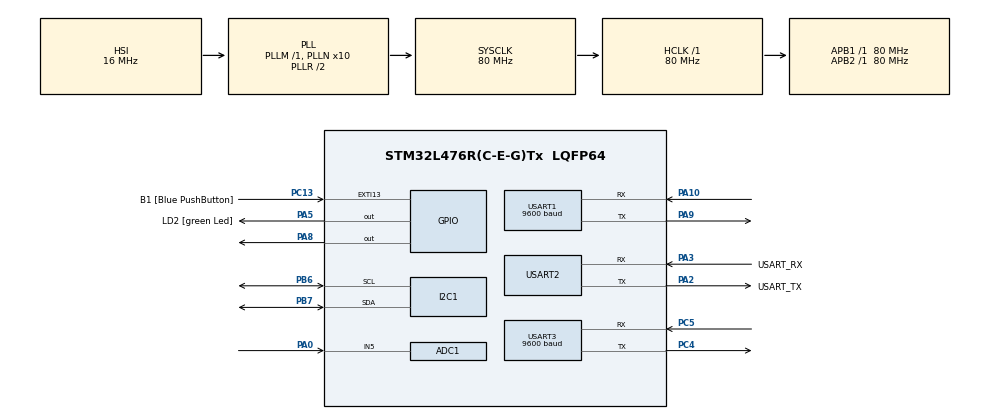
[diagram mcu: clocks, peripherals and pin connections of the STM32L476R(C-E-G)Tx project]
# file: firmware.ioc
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ADC1.Channel-0\#ChannelRegularConversion=ADC_CHANNEL_5
ADC1.NbrOfConversionFlag=1
ADC1.OffsetNumber-0\#ChannelRegularConversion=ADC_OFFSET_NONE
ADC1.Rank-0\#ChannelRegularConversion=1
ADC1.SamplingTime-0\#ChannelRegularConversion=ADC_SAMPLETIME_2CYCLES_5
ADC1.master=1
Dma.Request0=USART1_RX
Dma.Request1=USART1_TX
Dma.Request2=USART3_RX
Dma.Request3=USART3_TX
Dma.USART1_RX.0.Direction=DMA_PERIPH_TO_MEMORY
Dma.USART1_RX.0.Instance=DMA1_Channel5
Dma.USART1_RX.0.MemDataAlignment=DMA_MDATAALIGN_BYTE
Dma.USART1_RX.0.MemInc=DMA_MINC_ENABLE
Dma.USART1_RX.0.Mode=DMA_NORMAL
Dma.USART1_RX.0.PeriphDataAlignment=DMA_PDATAALIGN_BYTE
Dma.USART1_RX.0.PeriphInc=DMA_PINC_DISABLE
Dma.USART1_RX.0.Priority=DMA_PRIORITY_LOW
Dma.USART1_TX.1.Direction=DMA_MEMORY_TO_PERIPH
Dma.USART1_TX.1.Instance=DMA1_Channel4
Dma.USART1_TX.1.MemDataAlignment=DMA_MDATAALIGN_BYTE
Dma.USART1_TX.1.MemInc=DMA_MINC_ENABLE
Dma.USART1_TX.1.Mode=DMA_NORMAL
Dma.USART1_TX.1.PeriphDataAlignment=DMA_PDATAALIGN_BYTE
Dma.USART1_TX.1.PeriphInc=DMA_PINC_DISABLE
Dma.USART1_TX.1.Priority=DMA_PRIORITY_LOW
Dma.USART3_RX.2.Direction=DMA_PERIPH_TO_MEMORY
Dma.USART3_RX.2.Instance=DMA1_Channel3
Dma.USART3_RX.2.MemDataAlignment=DMA_MDATAALIGN_BYTE
Dma.USART3_RX.2.MemInc=DMA_MINC_ENABLE
Dma.USART3_RX.2.Mode=DMA_NORMAL
Dma.USART3_RX.2.PeriphDataAlignment=DMA_PDATAALIGN_BYTE
Dma.USART3_RX.2.PeriphInc=DMA_PINC_DISABLE
Dma.USART3_RX.2.Priority=DMA_PRIORITY_LOW
Dma.USART3_TX.3.Direction=DMA_MEMORY_TO_PERIPH
Dma.USART3_TX.3.Instance=DMA1_Channel2
Dma.USART3_TX.3.MemDataAlignment=DMA_MDATAALIGN_BYTE
Dma.USART3_TX.3.MemInc=DMA_MINC_ENABLE
Dma.USART3_TX.3.Mode=DMA_NORMAL
Dma.USART3_TX.3.PeriphDataAlignment=DMA_PDATAALIGN_BYTE
Dma.USART3_TX.3.PeriphInc=DMA_PINC_DISABLE
Dma.USART3_TX.3.Priority=DMA_PRIORITY_LOW
I2C1.Timing=0x10D19CE4
Mcu.Family=STM32L4
Mcu.Name=STM32L476R(C-E-G)Tx
Mcu.Package=LQFP64
NVIC.DMA1_Channel2_IRQn=true\:0\:0\:false\:false\:true\:false\:true\:true
NVIC.DMA1_Channel3_IRQn=true\:0\:0\:false\:false\:true\:false\:true\:true
NVIC.DMA1_Channel4_IRQn=true\:0\:0\:false\:false\:true\:false\:true\:true
NVIC.DMA1_Channel5_IRQn=true\:0\:0\:false\:false\:true\:false\:true\:true
NVIC.PriorityGroup=NVIC_PRIORITYGROUP_4
NVIC.RTC_Alarm_IRQn=true\:0\:0\:false\:false\:true\:true\:true\:true
NVIC.TIM2_IRQn=true\:0\:0\:false\:false\:true\:true\:true\:true
NVIC.TIM4_IRQn=true\:0\:0\:false\:false\:true\:true\:true\:true
NVIC.TIM5_IRQn=true\:0\:0\:false\:false\:true\:true\:true\:true
NVIC.USART1_IRQn=true\:0\:0\:false\:false\:true\:true\:true\:true
NVIC.USART3_IRQn=true\:0\:0\:false\:false\:true\:true\:true\:true
PA0.Signal=ADCx_IN5
PA10.Mode=Asynchronous
PA10.Signal=USART1_RX
PA13\ (JTMS-SWDIO).GPIO_Label=TMS
PA13\ (JTMS-SWDIO).Mode=Serial_Wire
PA13\ (JTMS-SWDIO).Signal=SYS_JTMS-SWDIO
PA14\ (JTCK-SWCLK).GPIO_Label=TCK
PA14\ (JTCK-SWCLK).Mode=Serial_Wire
PA14\ (JTCK-SWCLK).Signal=SYS_JTCK-SWCLK
PA2.GPIO_Label=USART_TX
PA2.GPIO_Mode=GPIO_MODE_AF_PP
PA2.GPIO_PuPd=GPIO_NOPULL
PA2.GPIO_Speed=GPIO_SPEED_FREQ_VERY_HIGH
PA2.Mode=Asynchronous
PA2.Signal=USART2_TX
PA3.GPIO_Label=USART_RX
PA3.GPIO_Mode=GPIO_MODE_AF_PP
PA3.GPIO_PuPd=GPIO_NOPULL
PA3.GPIO_Speed=GPIO_SPEED_FREQ_VERY_HIGH
PA3.Mode=Asynchronous
PA3.Signal=USART2_RX
PA5.GPIO_Label=LD2 [green Led]
PA5.GPIO_ModeDefaultOutputPP=GPIO_MODE_OUTPUT_PP
PA5.GPIO_PuPd=GPIO_NOPULL
PA5.GPIO_Speed=GPIO_SPEED_FREQ_LOW
PA5.Signal=GPIO_Output
PA8.Signal=GPIO_Output
PA9.Mode=Asynchronous
PA9.Signal=USART1_TX
PB3\ (JTDO-TRACESWO).GPIO_Label=SWO
PB3\ (JTDO-TRACESWO).Signal=SYS_JTDO-SWO
PB6.Mode=I2C
PB6.Signal=I2C1_SCL
PB7.Mode=I2C
PB7.Signal=I2C1_SDA
PC13.GPIO_Label=B1 [Blue PushButton]
PC13.GPIO_ModeDefaultEXTI=GPIO_MODE_IT_FALLING
PC13.GPIO_PuPd=GPIO_NOPULL
PC13.Signal=GPXTI13
PC14-OSC32_IN\ (PC14).Mode=LSE-External-Oscillator
PC14-OSC32_IN\ (PC14).Signal=RCC_OSC32_IN
PC15-OSC32_OUT\ (PC15).Mode=LSE-External-Oscillator
PC15-OSC32_OUT\ (PC15).Signal=RCC_OSC32_OUT
PC4.Mode=Asynchronous
PC4.Signal=USART3_TX
PC5.Mode=Asynchronous
PC5.Signal=USART3_RX
PH0-OSC_IN\ (PH0).Signal=RCC_OSC_IN
PH1-OSC_OUT\ (PH1).Signal=RCC_OSC_OUT
ProjectManager.HeapSize=0x200
ProjectManager.StackSize=0x400
ProjectManager.TargetToolchain=STM32CubeIDE
RCC.ADCFreq_Value=64000000
RCC.AHBFreq_Value=80000000
RCC.APB1Freq_Value=80000000
RCC.APB1TimFreq_Value=80000000
RCC.APB2Freq_Value=80000000
RCC.APB2TimFreq_Value=80000000
RCC.CortexFreq_Value=80000000
RCC.HCLKFreq_Value=80000000
RCC.HSE_VALUE=8000000
RCC.HSI_VALUE=16000000
RCC.MSI_VALUE=4000000
RCC.PLLN=10
RCC.PLLSourceVirtual=RCC_PLLSOURCE_HSI
RCC.PREFETCH_ENABLE=1
RCC.RTCClockSelection=RCC_RTCCLKSOURCE_LSE
RCC.SYSCLKFreq_VALUE=80000000
RCC.SYSCLKSource=RCC_SYSCLKSOURCE_PLLCLK
RCC.USBFreq_Value=64000000
RCC.VCOOutputFreq_Value=160000000
RTC.Alarm-Alarm\ A=RTC_ALARM_A
SH.ADCx_IN5.0=ADC1_IN5,IN5-Single-Ended
TIM1.Prescaler=7999
TIM2.Period=65535
TIM2.Prescaler=49999
TIM3.Prescaler=79
TIM4.Period=61039
TIM4.Prescaler=65529
TIM5.Period=39999
TIM5.Prescaler=59999
USART1.BaudRate=9600
USART1.VirtualMode-Asynchronous=VM_ASYNC
USART2.VirtualMode-Asynchronous=VM_ASYNC
USART3.BaudRate=9600
USART3.VirtualMode-Asynchronous=VM_ASYNC
VP_RTC_VS_RTC_Activate.Mode=RTC_Enabled
VP_RTC_VS_RTC_Alarm_A_Intern.Mode=Alarm A
VP_RTC_VS_RTC_Calendar.Mode=RTC_Calendar
VP_TIM1_VS_ClockSourceINT.Mode=Internal
VP_TIM2_VS_ClockSourceINT.Mode=Internal
VP_TIM3_VS_ClockSourceINT.Mode=Internal
VP_TIM4_VS_ClockSourceINT.Mode=Internal
VP_TIM5_VS_ClockSourceINT.Mode=Internal
board=NUCLEO-L476RG

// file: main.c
/* USER CODE BEGIN Header */
/**
  ******************************************************************************
  * @file           : main.c
  * @brief          : Main program body
  ******************************************************************************
  * @attention
  *
  * Copyright (c) 2025 STMicroelectronics.
  * All rights reserved.
  *
  * This software is licensed under terms that can be found in the LICENSE file
  * in the root directory of this software component.
  * If no LICENSE file comes with this software, it is provided AS-IS.
  *
  ******************************************************************************
  */
/* USER CODE END Header */
#include "main.h"

/* USER CODE BEGIN Includes */

#include "TSL2591.h"

/* USER CODE END Includes */

/* USER CODE BEGIN PTD */

typedef struct {
    uint8_t temperature;
    uint8_t humidity;
} DHT_Data;

/* USER CODE END PTD */

/* USER CODE BEGIN PD */

#define GPS_BUFFER_SIZE 72
#define PMTK_RESET "$PMTK104*37\r\n"
#define PMTK_NONE "$PMTK010,000*2F\r\n"
#define PMTK_SET_NMEA_OUTPUT_RMCONLY "$PMTK314,0,1,0,0,0,0,0,0,0,0,0,0,0,0,0,0,0,0,0*29\r\n"
//#define SENSOR_READ_DELAY 700000000
#define SENSOR_READ_DELAY 1000

#define TSL2591_ADDR             (0x29 << 1) // 7-bit address shifted for 8-bit I2C format
#define TSL2591_REG_ENABLE       0x00
#define TSL2591_REG_CONTROL      0x01
#define TSL2591_REG_C0DATAL      0x14
#define TSL2591_ENABLE_POWER_ON  0x01  // Power ON bit
#define TSL2591_ENABLE_ALS       0x02  // ALS Enable bit
#define TSL2591_CONTROL_GAIN_MED 0x10  // Medium gain
#define TSL2591_CONTROL_IT_300MS 0x02  // 300ms integration time
#define TSL2591_I2C_ADDRESS  0x29 << 1

/* USER CODE END PD */

/* USER CODE BEGIN PM */

#define DHT11_PIN GPIO_PIN_8
#define DHT11_GPIO_PORT GPIOA

/* USER CODE END PM */

ADC_HandleTypeDef hadc1;

I2C_HandleTypeDef hi2c1;

RTC_HandleTypeDef hrtc;

TIM_HandleTypeDef htim1;
TIM_HandleTypeDef htim2;
TIM_HandleTypeDef htim3;
TIM_HandleTypeDef htim4;
TIM_HandleTypeDef htim5;

UART_HandleTypeDef huart1;
UART_HandleTypeDef huart2;
UART_HandleTypeDef huart3;
DMA_HandleTypeDef hdma_usart1_rx;
DMA_HandleTypeDef hdma_usart1_tx;
DMA_HandleTypeDef hdma_usart3_rx;
DMA_HandleTypeDef hdma_usart3_tx;

/* USER CODE BEGIN PV */

uint8_t gpsBuffer[GPS_BUFFER_SIZE];

uint8_t txBuffer[8];
uint8_t rxBuffer[7] = {0};
uint16_t npk_value;
char NPKData[100];
volatile uint16_t nitrogen_value;
volatile uint16_t phosphorus_value;
volatile uint16_t potassium_value;
volatile uint8_t current_sensor = 0; // 0 = N, 1 = P, 2 = K
uint32_t lastSensorReadTime = 0;

uint32_t adc_value;
float voltage;
float soil_moisture;
char moisture[60];

TSL2591 tslSensor;
char lux_buffer[50];
uint16_t ch0_data, ch1_data;
float integration_time = 300.0;
float lux, ratio, cpl;
uint8_t gain = 25;  // Example gain multiplier
float lux = 0;

//the temp/humidity buffer
char msg[50];
int dht_flag = 0;

volatile uint32_t timer_ticks = 0;

int rtc_mins = 1;

/* USER CODE END PV */

void SystemClock_Config(void);
static void MX_GPIO_Init(void);
static void MX_DMA_Init(void);
static void MX_USART2_UART_Init(void);
static void MX_USART1_UART_Init(void);
static void MX_USART3_UART_Init(void);
static void MX_TIM2_Init(void);
static void MX_TIM3_Init(void);
static void MX_ADC1_Init(void);
static void MX_TIM4_Init(void);
static void MX_TIM1_Init(void);
static void MX_TIM5_Init(void);
static void MX_I2C1_Init(void);
static void MX_RTC_Init(void);

/* USER CODE BEGIN 0 */

void delay_us(uint16_t us){
//	swap to tim3
	__HAL_TIM_SET_COUNTER(&htim3, 0);
//	HAL_TIM_Base_Start(&htim2);
	while (__HAL_TIM_GET_COUNTER(&htim3) < us);
//	HAL_TIM_Base_Stop(&htim2);

}

DHT_Data readDHT(void){
	uint8_t data[5] = {0};
	DHT_Data dht_data = {0, 0};
	int i, j;

	HAL_GPIO_WritePin(DHT11_GPIO_PORT, DHT11_PIN, GPIO_PIN_RESET);
	HAL_Delay(18);

	HAL_GPIO_WritePin(DHT11_GPIO_PORT, DHT11_PIN, GPIO_PIN_SET);

	delay_us(30);

	GPIO_InitTypeDef GPIO_InitStruct = {0};
	GPIO_InitStruct.Pin = DHT11_PIN;
	GPIO_InitStruct.Mode = GPIO_MODE_INPUT;
	GPIO_InitStruct.Pull = GPIO_NOPULL;
	HAL_GPIO_Init(DHT11_GPIO_PORT, &GPIO_InitStruct);

	uint32_t timeout = 10000;
	    while (HAL_GPIO_ReadPin(DHT11_GPIO_PORT, DHT11_PIN) == GPIO_PIN_SET) {
	        if (--timeout == 0){
	        	return dht_data;
	        }
	    }

	    delay_us(80);

	    timeout = 1000;
	    while (HAL_GPIO_ReadPin(DHT11_GPIO_PORT, DHT11_PIN) == GPIO_PIN_RESET) {
	        if (--timeout == 0) {
	        	return dht_data;
	        }
	    }

	    delay_us(80);

	 for (i = 0; i < 5; i++) {
	         for (j = 7; j >= 0; j--) {
	             while (HAL_GPIO_ReadPin(DHT11_GPIO_PORT, DHT11_PIN) == GPIO_PIN_RESET);

	             delay_us(30);
	             if (HAL_GPIO_ReadPin(DHT11_GPIO_PORT, DHT11_PIN) == GPIO_PIN_SET) {
	                 data[i] |= (1 << j);
	             }
	             while (HAL_GPIO_ReadPin(DHT11_GPIO_PORT, DHT11_PIN) == GPIO_PIN_SET);
	         }
	 }
	 if ((data[0] + data[1] + data[2] + data[3]) == data[4]) {
	         dht_data.humidity = data[0];
	         dht_data.temperature = data[2];
	}

	 GPIO_InitStruct.Pin = DHT11_PIN;
	 GPIO_InitStruct.Mode = GPIO_MODE_OUTPUT_PP;
	 GPIO_InitStruct.Pull = GPIO_NOPULL;
	 HAL_GPIO_Init(DHT11_GPIO_PORT, &GPIO_InitStruct);
	return dht_data;
}

//void readAndTransmitDHT(void) {
//	DHT_Data sensorData = readDHT();
//
//    if (sensorData.humidity > 0 || sensorData.temperature > 0) {
//	    sprintf(msg, "Humidity: %d%%, Temperature: %u°C\r\n", sensorData.humidity, sensorData.temperature);
//	    HAL_UART_Transmit(&huart2, (uint8_t*)msg, strlen(msg), HAL_MAX_DELAY);
//    } else {
//	     //throw error
//	    HAL_GPIO_WritePin(GPIOA, GPIO_PIN_5, GPIO_PIN_SET);
//    }
//}
DHT_Data readAndTransmitDHT(void) {
	DHT_Data sensorData = readDHT();

    if (sensorData.humidity > 0 || sensorData.temperature > 0) {
	    sprintf(msg, "Humidity: %d%%, Temperature: %u°C\r\n", sensorData.humidity, sensorData.temperature);
	    HAL_UART_Transmit(&huart2, (uint8_t*)msg, strlen(msg), HAL_MAX_DELAY);
    } else {
	     //throw error
	    HAL_GPIO_WritePin(GPIOA, GPIO_PIN_5, GPIO_PIN_SET);
    }

    return sensorData;
}

float calcLux(uint16_t ch0_data, uint16_t ch1_data){
    if (ch0_data == 0) {
        lux = 0.0f; // Avoid divide-by-zero
    } else {
        float ratio = (float)ch1_data / (float)ch0_data;

        // Calculate CPL
        float cpl = (integration_time * gain) / 408.0;

        // Determine lux based on ratio thresholds
        if (ratio <= 0.5) {
            lux = ((0.0304 * ch0_data) - (0.062 * ch0_data * powf(ratio, 1.4))) / cpl;
        } else if (ratio <= 0.61) {
            lux = ((0.0224 * ch0_data) - (0.031 * ch1_data)) / cpl;
        } else if (ratio <= 0.80) {
            lux = ((0.0128 * ch0_data) - (0.0153 * ch1_data)) / cpl;
        } else if (ratio <= 1.30) {
            lux = ((0.00146 * ch0_data) - (0.00112 * ch1_data)) / cpl;
        } else {
            lux = 0.0f; // Very high ratio indicates invalid reading
        }
    }
    return lux;

}

uint16_t read_tsl2591_data(I2C_HandleTypeDef *hi2c, uint8_t reg_low, uint8_t reg_high) {
    uint8_t data_bytes[2];
    uint16_t data;

    // Read low and high bytes in one go
    HAL_I2C_Mem_Read(hi2c, TSL2591_I2C_ADDRESS, TSL2591_COMMAND_BIT | reg_low, I2C_MEMADD_SIZE_8BIT, data_bytes, 2, HAL_MAX_DELAY);

    // Combine bytes
    data = (data_bytes[1] << 8) | data_bytes[0];

    return data;
}

HAL_StatusTypeDef NPK_ReadSensor_DMA(void) {
    uint8_t comN[] = {0x01, 0x03, 0x00, 0x1E, 0x00, 0x01, 0xE4, 0x0C};
    memcpy(txBuffer, comN, 8);

    return HAL_UART_Transmit_DMA(&huart1, txBuffer, 8);
}

HAL_StatusTypeDef Phosphorus_ReadSensor_DMA(void) {
    uint8_t ComP[] = { 0x01, 0x03, 0x00, 0x1F, 0x00, 0x01, 0xB5, 0xCC };
    memcpy(txBuffer, ComP, 8);

    return HAL_UART_Transmit_DMA(&huart1, txBuffer, 8);
}

HAL_StatusTypeDef Potassium_ReadSensor_DMA(void) {
    uint8_t ComK[] = { 0x01, 0x03, 0x00, 0x20, 0x00, 0x01, 0x85, 0xC0 };
    memcpy(txBuffer, ComK, 8);

    return HAL_UART_Transmit_DMA(&huart1, txBuffer, 8);
}

float calculateSoilScore(float volt){
	float score = 0;
	float num = 0;
	if(volt >= 0.0 && volt < 1.1){
		num = volt*10 - 1;
	}
	else if(volt >= 1.1 && volt < 1.3){
		num = volt*25 - 17.5;
	}
	else if(volt >= 1.3 && volt < 1.82){
		num = volt*48.08 - 47.5;
	}
	else if(volt >= 1.82 && volt <= 2.2){
		num = volt*26.32- 7.89;
	}
	else{
		// out of range
		num = -1;
	}
	score = num/50;
	return score;
}
uint32_t currentTime = 0;

void HAL_TIM_PeriodElapsedCallback(TIM_HandleTypeDef *htim) {
	if(htim->Instance == TIM5) {
		dht_flag = 1;
		ch0_data = read_tsl2591_data(&hi2c1, 0x14, 0x15);
		ch1_data = read_tsl2591_data(&hi2c1, 0x16, 0x17);
		lux = calcLux( ch0_data,  ch1_data);
		sprintf(lux_buffer,"Lux is: %.1f \r\n", lux);
		HAL_UART_Transmit(&huart2, (uint8_t*)lux_buffer, strlen(lux_buffer), HAL_MAX_DELAY);
	}
    if (htim->Instance == TIM4) {
//    	WE PROBABLY DONT NEED THIS
//    	comment back this code when in a location that the gps can get a signal
//        parseGNRMC((const char*)gpsBuffer);
//	    HAL_UART_Transmit(&huart2, gpsBuffer, strlen((char*)gpsBuffer), 1000);
    }
    if (htim->Instance == TIM2) {

    	HAL_GPIO_TogglePin(GPIOA, GPIO_PIN_5);
//    	maybe see if delay_us() fucks shit up in here

    	/*__HAL_TIM_SET_COUNTER(&htim3, 0);
		while(current_sensor < 3){
			currentTime += __HAL_TIM_GET_COUNTER(&htim3);
			if (currentTime - lastSensorReadTime >= SENSOR_READ_DELAY) {
//				lastSensorReadTime = currentTime;

				switch(current_sensor) {
					case 0:
						NPK_ReadSensor_DMA();
						break;
					case 1:
						Phosphorus_ReadSensor_DMA();
						break;
					case 2:
						Potassium_ReadSensor_DMA();
						break;
				}
//				currentTime = HAL_GetTick();
				current_sensor = current_sensor + 1;
				lastSensorReadTime = currentTime;
			}
		}
		current_sensor = 0;*/

		uint32_t currentTime = HAL_GetTick();
		if (currentTime - lastSensorReadTime >= SENSOR_READ_DELAY) {
			lastSensorReadTime = currentTime;

			switch(current_sensor) {
				case 0:
					NPK_ReadSensor_DMA();
					break;
				case 1:
					Phosphorus_ReadSensor_DMA();
					break;
				case 2:
					Potassium_ReadSensor_DMA();
					break;
			}

			current_sensor = (current_sensor + 1) % 3;
		}

		if (current_sensor == 0) {
			sprintf(NPKData, "N: %d, P: %d, K: %d\r\n",
					nitrogen_value,
					phosphorus_value,
					potassium_value);
			HAL_UART_Transmit(&huart2, (uint8_t*)NPKData, strlen(NPKData), 1000);
		}

		HAL_ADC_Start(&hadc1);

	    HAL_ADC_PollForConversion(&hadc1, HAL_MAX_DELAY);

	    adc_value = HAL_ADC_GetValue(&hadc1);
	    voltage = (adc_value * 3.3f) / 4095.0f;

	    soil_moisture = calculateSoilScore(voltage) * 100;

	    sprintf(moisture,"Voltage: %.2f V, Soil Moisture Level: %.1f / 100\r\n", voltage, soil_moisture);
	    HAL_UART_Transmit(&huart2, (uint8_t*)moisture, strlen(moisture), 1000);

   }
}

void StartUartDmaReceive(void) {
    HAL_UART_Receive_DMA(&huart3, gpsBuffer, 72);
    HAL_UART_Receive_DMA(&huart1, rxBuffer, 7);
}

void HAL_UART_TxCpltCallback(UART_HandleTypeDef *huart) {
    if (huart == &huart3) {
//        HAL_UART_Receive_DMA(&huart1, gpsBuffer, 100);
    }
    if (huart == &huart1) {
        HAL_UART_Receive_DMA(&huart1, rxBuffer, 7);
    }
}

void HAL_UART_RxCpltCallback(UART_HandleTypeDef *huart) {
    if (huart == &huart3) {

    }

    if (huart == &huart1) {

		uint16_t received_value = (rxBuffer[3] << 8) | rxBuffer[4];

		switch(current_sensor) {
			case 0:
				nitrogen_value = received_value;
				break;
			case 1:
				phosphorus_value = received_value;
				break;
			case 2:
				potassium_value = received_value;
				break;
		}
		HAL_UART_Receive_DMA(&huart1, rxBuffer, 7);
    }
}

uint8_t TermiteBuffer[256];

void parseGNRMC(const char *nmeaBuffer) {
    // Temporary buffer to avoid modifying the original string
    char buffer[256];
    strncpy(buffer, nmeaBuffer, sizeof(buffer));
    buffer[sizeof(buffer) - 1] = '\0'; // Ensure null termination

    // Split the buffer by commas
    char *tokens[20]; // NMEA sentences typically have fewer than 20 fields
    int index = 0;
    char *token = strtok(buffer, ",");

    // Tokenize the sentence
    while (token != NULL && index < 20) {
        tokens[index++] = token;
        token = strtok(NULL, ",");
    }

    // Check if the sentence is $GNRMC
    for (int i = 0; i < index; i++) {
        if (strcmp(tokens[i], "$GNRMC") == 0 || strcmp(tokens[i], "$$GNRMC")) {
            int latIndex = i + 3; // Latitude value
            int latDirIndex = i + 4; // Latitude direction
            int lonIndex = i + 5; // Longitude value
            int lonDirIndex = i + 6; // Longitude direction

            // Extract latitude and longitude with their directions
            const char *latitude = tokens[latIndex];
            const char *latDirection = tokens[latDirIndex];
            const char *longitude = tokens[lonIndex];
            const char *lonDirection = tokens[lonDirIndex];

            // Use sprintf to format into TermiteBuffer
            snprintf((char*)TermiteBuffer, sizeof(TermiteBuffer),
                     "Lat: %s %s, Lon: %s %s\n",
                     latitude, latDirection, longitude, lonDirection);

            // Transmit via UART2
            HAL_UART_Transmit(&huart2, TermiteBuffer, strlen((char*)TermiteBuffer), 1000);

            return; // Exit after processing the first $GNRMC sentence
        }
    }

    // If no $GNRMC sentence found
    snprintf((char*)TermiteBuffer, sizeof(TermiteBuffer), "No $GNRMC sentence found.\n");
    HAL_UART_Transmit(&huart2, TermiteBuffer, strlen((char*)TermiteBuffer), 1000);
}

void gps_init(void){
//	this needs to be huart3
	HAL_UART_Transmit(&huart1, (uint8_t*)PMTK_RESET, strlen(PMTK_RESET), 1000);
    HAL_Delay(1000);
    HAL_UART_Transmit(&huart3, (uint8_t*)PMTK_SET_NMEA_OUTPUT_RMCONLY, strlen(PMTK_SET_NMEA_OUTPUT_RMCONLY), 1000);
    HAL_Delay(1000);
    HAL_UART_Transmit(&huart3, (uint8_t*)PMTK_NONE, strlen(PMTK_NONE), 1000);
    HAL_Delay(1000);
}

void uv_init(void){
	  if (TSL2591_Init(&tslSensor, &hi2c1) == HAL_OK) {
			if (TSL2591_Enable(&tslSensor) != HAL_OK) {

			}

			if (TSL2591_SetIntegrationGain(&tslSensor, TSL2591_INTEGRATIONTIME_100MS, TSL2591_GAIN_MED) == HAL_OK) {
				HAL_Delay(100);
			}
	  }
}
void HAL_RTC_AlarmAEventCallback(RTC_HandleTypeDef *hrtc) {
//	 HAL_GPIO_TogglePin(GPIOA, GPIO_PIN_5);
	  parseGNRMC((const char*)gpsBuffer);
	  HAL_UART_Transmit(&huart2, gpsBuffer, strlen((char*)gpsBuffer), 1000);
	  rtc_mins += 1;
	  Set_RTC_Alarm(rtc_mins);
//	  HAL_UART_Transmit(&huart2, (uint8_t*)"\n\rAlarm Triggered! LED ON\n\r", 27, HAL_MAX_DELAY);
//	  alarmBool = 1;
}

//void Set_RTC_Alarm(void)
//{
//    RTC_AlarmTypeDef sAlarm = {0};
//    uint8_t buffer[3];
//
//
////    HAL_UART_Transmit(&huart2, (uint8_t*)"Enter Alarm Hours (00-23): ", 27, HAL_MAX_DELAY);
////    UART_Receive(buffer, 2);
//    sAlarm.AlarmTime.Hours = 0;
//
////    HAL_UART_Transmit(&huart2, (uint8_t*)"\n\rEnter Alarm Minutes (00-59): ", 30, HAL_MAX_DELAY);
////    UART_Receive(buffer, 2);
//    sAlarm.AlarmTime.Minutes = 1;
//
//    sAlarm.AlarmTime.Seconds = 0;
//
//    sAlarm.AlarmTime.SubSeconds = 0;
//    sAlarm.AlarmTime.DayLightSaving = RTC_DAYLIGHTSAVING_NONE;
//    sAlarm.AlarmTime.StoreOperation = RTC_STOREOPERATION_RESET;
//    sAlarm.AlarmMask = RTC_ALARMMASK_NONE;
//    sAlarm.AlarmSubSecondMask = RTC_ALARMSUBSECONDMASK_ALL;
//    sAlarm.AlarmDateWeekDaySel = RTC_ALARMDATEWEEKDAYSEL_DATE;
//    sAlarm.AlarmDateWeekDay = 0x01;
//    sAlarm.Alarm = RTC_ALARM_A;
//
//    if (HAL_RTC_SetAlarm_IT(&hrtc, &sAlarm, RTC_FORMAT_BIN) != HAL_OK)
//    {
//        Error_Handler();
//    }
//    HAL_UART_Transmit(&huart2, (uint8_t*)"\n\rAlarm is set!\n\r", 17, HAL_MAX_DELAY);
//}
void Set_RTC_Alarm(int mins)
{
    RTC_AlarmTypeDef sAlarm = {0};
    uint8_t buffer[3];

//    HAL_UART_Transmit(&huart2, (uint8_t*)"Enter Alarm Hours (00-23): ", 27, HAL_MAX_DELAY);
//    UART_Receive(buffer, 2);
    sAlarm.AlarmTime.Hours = 0;

//    HAL_UART_Transmit(&huart2, (uint8_t*)"\n\rEnter Alarm Minutes (00-59): ", 30, HAL_MAX_DELAY);
//    UART_Receive(buffer, 2);
    sAlarm.AlarmTime.Minutes = mins;

    sAlarm.AlarmTime.Seconds = 0;

    sAlarm.AlarmTime.SubSeconds = 0;
    sAlarm.AlarmTime.DayLightSaving = RTC_DAYLIGHTSAVING_NONE;
    sAlarm.AlarmTime.StoreOperation = RTC_STOREOPERATION_RESET;
    sAlarm.AlarmMask = RTC_ALARMMASK_NONE;
    sAlarm.AlarmSubSecondMask = RTC_ALARMSUBSECONDMASK_ALL;
    sAlarm.AlarmDateWeekDaySel = RTC_ALARMDATEWEEKDAYSEL_DATE;
    sAlarm.AlarmDateWeekDay = 0x01;
    sAlarm.Alarm = RTC_ALARM_A;

    if (HAL_RTC_SetAlarm_IT(&hrtc, &sAlarm, RTC_FORMAT_BIN) != HAL_OK)
    {
        Error_Handler();
    }
    HAL_UART_Transmit(&huart2, (uint8_t*)"\n\rAlarm is set!\n\r", 17, HAL_MAX_DELAY);
}

void create_sensor_payload(uint8_t temperature, uint8_t humidity,
                           uint16_t nitrogen, uint16_t phosphorus, uint16_t potassium,
                           uint32_t soil_moisture, uint16_t uv,
                           uint8_t *buffer) {
    buffer[0] = temperature;
    buffer[1] = humidity;

    buffer[2] = (nitrogen >> 8) & 0xFF;
    buffer[3] = nitrogen & 0xFF;

    buffer[4] = (phosphorus >> 8) & 0xFF;
    buffer[5] = phosphorus & 0xFF;

    buffer[6] = (potassium >> 8) & 0xFF;
    buffer[7] = potassium & 0xFF;

    buffer[8]  = (soil_moisture >> 24) & 0xFF;
    buffer[9]  = (soil_moisture >> 16) & 0xFF;
    buffer[10] = (soil_moisture >> 8) & 0xFF;
    buffer[11] = soil_moisture & 0xFF;

    buffer[12] = (uv >> 8) & 0xFF;
    buffer[13] = uv & 0xFF;
}

void publish_sensor_data(uint16_t module_id, uint8_t *data, size_t length) {
	uint8_t buffer[length + 2];  // Create a new buffer with space for the module ID
	buffer[0] = (module_id >> 8) & 0xFF;  // High byte of module_id
	buffer[1] = module_id & 0xFF;         // Low byte of module_id

	memcpy(&buffer[2], data, length);  // Copy sensor data after module ID

	HAL_UART_Transmit(&huart3, buffer, sizeof(buffer), HAL_MAX_DELAY);
}

//uint8_t sensor_data[14];
uint8_t temperature = 0;
uint8_t humidity = 0;

/* USER CODE END 0 */

int main(void)
{

  /* MCU Configuration--------------------------------------------------------*/

  /* Reset of all peripherals, Initializes the Flash interface and the Systick. */
  HAL_Init();

  /* Configure the system clock */
  SystemClock_Config();

  /* Initialize all configured peripherals */
  MX_GPIO_Init();
  MX_DMA_Init();
  MX_USART2_UART_Init();
  MX_USART1_UART_Init();
  MX_USART3_UART_Init();
  MX_TIM2_Init();
  MX_TIM3_Init();
  MX_ADC1_Init();
  MX_TIM4_Init();
  MX_TIM1_Init();
  MX_TIM5_Init();
  MX_I2C1_Init();
  MX_RTC_Init();
  /* USER CODE BEGIN 2 */
  Set_RTC_Alarm(rtc_mins);
  StartUartDmaReceive();

  HAL_TIM_Base_Start(&htim3);

//  NEED THIS LINE OF CODE TO RUN BEFORE INIT CODE OF GPS AND UV SENSOR
  readAndTransmitDHT();

  gps_init();

  uv_init();

  HAL_TIM_Base_Start_IT(&htim2);
  HAL_TIM_Base_Start_IT(&htim4);
  HAL_TIM_Base_Start_IT(&htim5);

  HAL_ADCEx_Calibration_Start(&hadc1, ADC_SINGLE_ENDED);

//  N_Data[100];
//  NPK_ReadSensor_DMA();
//  sprintf(N_Data, "N: %d\r\n",
//  					nitrogen_value);
//  HAL_UART_Transmit(&huart2, (uint8_t*)N_Data, strlen(N_Data), 1000);

  /* USER CODE END 2 */

  /* Infinite loop */
  while (1)
  {

    /* USER CODE BEGIN 3 */

	  if(dht_flag == 1){
		  DHT_Data temp_hum = readAndTransmitDHT();
		  temperature = temp_hum.temperature;;   // 25°C
		  humidity = temp_hum.humidity;
		  dht_flag = 0;
	  }

	  uint16_t MODULE_ID = 4;
	  uint8_t sensor_data[14];  // Buffer to hold sensor data

	  // Example sensor readings
//	  uint8_t temperature = 25;   // 25°C
//	  uint8_t humidity = 60;      // 60%
	  uint16_t nitrogen = 300;    // 300 mg/kg
	  uint16_t phosphorus = 154;  // 150 mg/kg
	  uint16_t potassium = 206;   // 200 mg/kg
	  uint32_t soil_moisture = 123456; // Example soil moisture value
	  uint16_t uv = 47;          // UV index 45

	  create_sensor_payload(temperature, humidity, nitrogen_value, phosphorus_value, potassium_value, adc_value, lux, sensor_data);

	  // Send over UART
	  publish_sensor_data(MODULE_ID, sensor_data, sizeof(sensor_data));

	  HAL_Delay(5000);  // Wait 1 second

  }
  /* USER CODE END 3 */
}

void SystemClock_Config(void)
{
  RCC_OscInitTypeDef RCC_OscInitStruct = {0};
  RCC_ClkInitTypeDef RCC_ClkInitStruct = {0};

  /** Configure the main internal regulator output voltage
  */
  if (HAL_PWREx_ControlVoltageScaling(PWR_REGULATOR_VOLTAGE_SCALE1) != HAL_OK)
  {
    Error_Handler();
  }

  /** Configure LSE Drive Capability
  */
  HAL_PWR_EnableBkUpAccess();
  __HAL_RCC_LSEDRIVE_CONFIG(RCC_LSEDRIVE_LOW);

  /** Initializes the RCC Oscillators according to the specified parameters
  * in the RCC_OscInitTypeDef structure.
  */
  RCC_OscInitStruct.OscillatorType = RCC_OSCILLATORTYPE_HSI|RCC_OSCILLATORTYPE_LSE;
  RCC_OscInitStruct.LSEState = RCC_LSE_ON;
  RCC_OscInitStruct.HSIState = RCC_HSI_ON;
  RCC_OscInitStruct.HSICalibrationValue = RCC_HSICALIBRATION_DEFAULT;
  RCC_OscInitStruct.PLL.PLLState = RCC_PLL_ON;
  RCC_OscInitStruct.PLL.PLLSource = RCC_PLLSOURCE_HSI;
  RCC_OscInitStruct.PLL.PLLM = 1;
  RCC_OscInitStruct.PLL.PLLN = 10;
  RCC_OscInitStruct.PLL.PLLP = RCC_PLLP_DIV7;
  RCC_OscInitStruct.PLL.PLLQ = RCC_PLLQ_DIV2;
  RCC_OscInitStruct.PLL.PLLR = RCC_PLLR_DIV2;
  if (HAL_RCC_OscConfig(&RCC_OscInitStruct) != HAL_OK)
  {
    Error_Handler();
  }

  /** Initializes the CPU, AHB and APB buses clocks
  */
  RCC_ClkInitStruct.ClockType = RCC_CLOCKTYPE_HCLK|RCC_CLOCKTYPE_SYSCLK
                              |RCC_CLOCKTYPE_PCLK1|RCC_CLOCKTYPE_PCLK2;
  RCC_ClkInitStruct.SYSCLKSource = RCC_SYSCLKSOURCE_PLLCLK;
  RCC_ClkInitStruct.AHBCLKDivider = RCC_SYSCLK_DIV1;
  RCC_ClkInitStruct.APB1CLKDivider = RCC_HCLK_DIV1;
  RCC_ClkInitStruct.APB2CLKDivider = RCC_HCLK_DIV1;

  if (HAL_RCC_ClockConfig(&RCC_ClkInitStruct, FLASH_LATENCY_4) != HAL_OK)
  {
    Error_Handler();
  }
}

static void MX_ADC1_Init(void)
{

  ADC_MultiModeTypeDef multimode = {0};
  ADC_ChannelConfTypeDef sConfig = {0};

  /** Common config
  */
  hadc1.Instance = ADC1;
  hadc1.Init.ClockPrescaler = ADC_CLOCK_ASYNC_DIV1;
  hadc1.Init.Resolution = ADC_RESOLUTION_12B;
  hadc1.Init.DataAlign = ADC_DATAALIGN_RIGHT;
  hadc1.Init.ScanConvMode = ADC_SCAN_DISABLE;
  hadc1.Init.EOCSelection = ADC_EOC_SINGLE_CONV;
  hadc1.Init.LowPowerAutoWait = DISABLE;
  hadc1.Init.ContinuousConvMode = DISABLE;
  hadc1.Init.NbrOfConversion = 1;
  hadc1.Init.DiscontinuousConvMode = DISABLE;
  hadc1.Init.ExternalTrigConv = ADC_SOFTWARE_START;
  hadc1.Init.ExternalTrigConvEdge = ADC_EXTERNALTRIGCONVEDGE_NONE;
  hadc1.Init.DMAContinuousRequests = DISABLE;
  hadc1.Init.Overrun = ADC_OVR_DATA_PRESERVED;
  hadc1.Init.OversamplingMode = DISABLE;
  if (HAL_ADC_Init(&hadc1) != HAL_OK)
  {
    Error_Handler();
  }

  /** Configure the ADC multi-mode
  */
  multimode.Mode = ADC_MODE_INDEPENDENT;
  if (HAL_ADCEx_MultiModeConfigChannel(&hadc1, &multimode) != HAL_OK)
  {
    Error_Handler();
  }

  /** Configure Regular Channel
  */
  sConfig.Channel = ADC_CHANNEL_5;
  sConfig.Rank = ADC_REGULAR_RANK_1;
  sConfig.SamplingTime = ADC_SAMPLETIME_2CYCLES_5;
  sConfig.SingleDiff = ADC_SINGLE_ENDED;
  sConfig.OffsetNumber = ADC_OFFSET_NONE;
  sConfig.Offset = 0;
  if (HAL_ADC_ConfigChannel(&hadc1, &sConfig) != HAL_OK)
  {
    Error_Handler();
  }

}

static void MX_I2C1_Init(void)
{

  hi2c1.Instance = I2C1;
  hi2c1.Init.Timing = 0x10D19CE4;
  hi2c1.Init.OwnAddress1 = 0;
  hi2c1.Init.AddressingMode = I2C_ADDRESSINGMODE_7BIT;
  hi2c1.Init.DualAddressMode = I2C_DUALADDRESS_DISABLE;
  hi2c1.Init.OwnAddress2 = 0;
  hi2c1.Init.OwnAddress2Masks = I2C_OA2_NOMASK;
  hi2c1.Init.GeneralCallMode = I2C_GENERALCALL_DISABLE;
  hi2c1.Init.NoStretchMode = I2C_NOSTRETCH_DISABLE;
  if (HAL_I2C_Init(&hi2c1) != HAL_OK)
  {
    Error_Handler();
  }

  /** Configure Analogue filter
  */
  if (HAL_I2CEx_ConfigAnalogFilter(&hi2c1, I2C_ANALOGFILTER_ENABLE) != HAL_OK)
  {
    Error_Handler();
  }

  /** Configure Digital filter
  */
  if (HAL_I2CEx_ConfigDigitalFilter(&hi2c1, 0) != HAL_OK)
  {
    Error_Handler();
  }

}

static void MX_RTC_Init(void)
{

  RTC_TimeTypeDef sTime = {0};
  RTC_DateTypeDef sDate = {0};
  RTC_AlarmTypeDef sAlarm = {0};

  /** Initialize RTC Only
  */
  hrtc.Instance = RTC;
  hrtc.Init.HourFormat = RTC_HOURFORMAT_24;
  hrtc.Init.AsynchPrediv = 127;
  hrtc.Init.SynchPrediv = 255;
  hrtc.Init.OutPut = RTC_OUTPUT_DISABLE;
  hrtc.Init.OutPutRemap = RTC_OUTPUT_REMAP_NONE;
  hrtc.Init.OutPutPolarity = RTC_OUTPUT_POLARITY_HIGH;
  hrtc.Init.OutPutType = RTC_OUTPUT_TYPE_OPENDRAIN;
  if (HAL_RTC_Init(&hrtc) != HAL_OK)
  {
    Error_Handler();
  }

  /** Initialize RTC and set the Time and Date
  */
  sTime.Hours = 0x0;
  sTime.Minutes = 0x0;
  sTime.Seconds = 0x0;
  sTime.DayLightSaving = RTC_DAYLIGHTSAVING_NONE;
  sTime.StoreOperation = RTC_STOREOPERATION_RESET;
  if (HAL_RTC_SetTime(&hrtc, &sTime, RTC_FORMAT_BCD) != HAL_OK)
  {
    Error_Handler();
  }
  sDate.WeekDay = RTC_WEEKDAY_MONDAY;
  sDate.Month = RTC_MONTH_JANUARY;
  sDate.Date = 0x1;
  sDate.Year = 0x0;

  if (HAL_RTC_SetDate(&hrtc, &sDate, RTC_FORMAT_BCD) != HAL_OK)
  {
    Error_Handler();
  }

  /** Enable the Alarm A
  */
  sAlarm.AlarmTime.Hours = 0x0;
  sAlarm.AlarmTime.Minutes = 0x0;
  sAlarm.AlarmTime.Seconds = 0x0;
  sAlarm.AlarmTime.SubSeconds = 0x0;
  sAlarm.AlarmTime.DayLightSaving = RTC_DAYLIGHTSAVING_NONE;
  sAlarm.AlarmTime.StoreOperation = RTC_STOREOPERATION_RESET;
  sAlarm.AlarmMask = RTC_ALARMMASK_NONE;
  sAlarm.AlarmSubSecondMask = RTC_ALARMSUBSECONDMASK_ALL;
  sAlarm.AlarmDateWeekDaySel = RTC_ALARMDATEWEEKDAYSEL_DATE;
  sAlarm.AlarmDateWeekDay = 0x1;
  sAlarm.Alarm = RTC_ALARM_A;
  if (HAL_RTC_SetAlarm_IT(&hrtc, &sAlarm, RTC_FORMAT_BCD) != HAL_OK)
  {
    Error_Handler();
  }

}

static void MX_TIM1_Init(void)
{

  TIM_ClockConfigTypeDef sClockSourceConfig = {0};
  TIM_MasterConfigTypeDef sMasterConfig = {0};

  htim1.Instance = TIM1;
  htim1.Init.Prescaler = 7999;
  htim1.Init.CounterMode = TIM_COUNTERMODE_UP;
  htim1.Init.Period = 65535;
  htim1.Init.ClockDivision = TIM_CLOCKDIVISION_DIV1;
  htim1.Init.RepetitionCounter = 0;
  htim1.Init.AutoReloadPreload = TIM_AUTORELOAD_PRELOAD_DISABLE;
  if (HAL_TIM_Base_Init(&htim1) != HAL_OK)
  {
    Error_Handler();
  }
  sClockSourceConfig.ClockSource = TIM_CLOCKSOURCE_INTERNAL;
  if (HAL_TIM_ConfigClockSource(&htim1, &sClockSourceConfig) != HAL_OK)
  {
    Error_Handler();
  }
  sMasterConfig.MasterOutputTrigger = TIM_TRGO_RESET;
  sMasterConfig.MasterOutputTrigger2 = TIM_TRGO2_RESET;
  sMasterConfig.MasterSlaveMode = TIM_MASTERSLAVEMODE_DISABLE;
  if (HAL_TIMEx_MasterConfigSynchronization(&htim1, &sMasterConfig) != HAL_OK)
  {
    Error_Handler();
  }

}

static void MX_TIM2_Init(void)
{

  TIM_ClockConfigTypeDef sClockSourceConfig = {0};
  TIM_MasterConfigTypeDef sMasterConfig = {0};

  htim2.Instance = TIM2;
  htim2.Init.Prescaler = 7999 ;
  htim2.Init.CounterMode = TIM_COUNTERMODE_UP;
  htim2.Init.Period = 599999;
  htim2.Init.ClockDivision = TIM_CLOCKDIVISION_DIV1;
  htim2.Init.AutoReloadPreload = TIM_AUTORELOAD_PRELOAD_DISABLE;
  if (HAL_TIM_Base_Init(&htim2) != HAL_OK)
  {
    Error_Handler();
  }
  sClockSourceConfig.ClockSource = TIM_CLOCKSOURCE_INTERNAL;
  if (HAL_TIM_ConfigClockSource(&htim2, &sClockSourceConfig) != HAL_OK)
  {
    Error_Handler();
  }
  sMasterConfig.MasterOutputTrigger = TIM_TRGO_RESET;
  sMasterConfig.MasterSlaveMode = TIM_MASTERSLAVEMODE_DISABLE;
  if (HAL_TIMEx_MasterConfigSynchronization(&htim2, &sMasterConfig) != HAL_OK)
  {
    Error_Handler();
  }

}

static void MX_TIM3_Init(void)
{

  TIM_ClockConfigTypeDef sClockSourceConfig = {0};
  TIM_MasterConfigTypeDef sMasterConfig = {0};

  htim3.Instance = TIM3;
  htim3.Init.Prescaler = 79;
  htim3.Init.CounterMode = TIM_COUNTERMODE_UP;
  htim3.Init.Period = 65535;
  htim3.Init.ClockDivision = TIM_CLOCKDIVISION_DIV1;
  htim3.Init.AutoReloadPreload = TIM_AUTORELOAD_PRELOAD_DISABLE;
  if (HAL_TIM_Base_Init(&htim3) != HAL_OK)
  {
    Error_Handler();
  }
  sClockSourceConfig.ClockSource = TIM_CLOCKSOURCE_INTERNAL;
  if (HAL_TIM_ConfigClockSource(&htim3, &sClockSourceConfig) != HAL_OK)
  {
    Error_Handler();
  }
  sMasterConfig.MasterOutputTrigger = TIM_TRGO_RESET;
  sMasterConfig.MasterSlaveMode = TIM_MASTERSLAVEMODE_DISABLE;
  if (HAL_TIMEx_MasterConfigSynchronization(&htim3, &sMasterConfig) != HAL_OK)
  {
    Error_Handler();
  }

}

static void MX_TIM4_Init(void)
{

  TIM_ClockConfigTypeDef sClockSourceConfig = {0};
  TIM_MasterConfigTypeDef sMasterConfig = {0};

  htim4.Instance = TIM4;
  htim4.Init.Prescaler = 65529;
  htim4.Init.CounterMode = TIM_COUNTERMODE_UP;
  htim4.Init.Period = 61039;
  htim4.Init.ClockDivision = TIM_CLOCKDIVISION_DIV1;
  htim4.Init.AutoReloadPreload = TIM_AUTORELOAD_PRELOAD_DISABLE;
  if (HAL_TIM_Base_Init(&htim4) != HAL_OK)
  {
    Error_Handler();
  }
  sClockSourceConfig.ClockSource = TIM_CLOCKSOURCE_INTERNAL;
  if (HAL_TIM_ConfigClockSource(&htim4, &sClockSourceConfig) != HAL_OK)
  {
    Error_Handler();
  }
  sMasterConfig.MasterOutputTrigger = TIM_TRGO_RESET;
  sMasterConfig.MasterSlaveMode = TIM_MASTERSLAVEMODE_DISABLE;
  if (HAL_TIMEx_MasterConfigSynchronization(&htim4, &sMasterConfig) != HAL_OK)
  {
    Error_Handler();
  }

}

static void MX_TIM5_Init(void)
{

  TIM_ClockConfigTypeDef sClockSourceConfig = {0};
  TIM_MasterConfigTypeDef sMasterConfig = {0};

  htim5.Instance = TIM5;
  htim5.Init.Prescaler = 7999 ;
  htim5.Init.CounterMode = TIM_COUNTERMODE_UP;
  htim5.Init.Period = 149999;
  htim5.Init.ClockDivision = TIM_CLOCKDIVISION_DIV1;
  htim5.Init.AutoReloadPreload = TIM_AUTORELOAD_PRELOAD_DISABLE;
  if (HAL_TIM_Base_Init(&htim5) != HAL_OK)
  {
    Error_Handler();
  }
  sClockSourceConfig.ClockSource = TIM_CLOCKSOURCE_INTERNAL;
  if (HAL_TIM_ConfigClockSource(&htim5, &sClockSourceConfig) != HAL_OK)
  {
    Error_Handler();
  }
  sMasterConfig.MasterOutputTrigger = TIM_TRGO_RESET;
  sMasterConfig.MasterSlaveMode = TIM_MASTERSLAVEMODE_DISABLE;
  if (HAL_TIMEx_MasterConfigSynchronization(&htim5, &sMasterConfig) != HAL_OK)
  {
    Error_Handler();
  }

}

static void MX_USART1_UART_Init(void)
{

  huart1.Instance = USART1;
  huart1.Init.BaudRate = 9600;
  huart1.Init.WordLength = UART_WORDLENGTH_8B;
  huart1.Init.StopBits = UART_STOPBITS_1;
  huart1.Init.Parity = UART_PARITY_NONE;
  huart1.Init.Mode = UART_MODE_TX_RX;
  huart1.Init.HwFlowCtl = UART_HWCONTROL_NONE;
  huart1.Init.OverSampling = UART_OVERSAMPLING_16;
  huart1.Init.OneBitSampling = UART_ONE_BIT_SAMPLE_DISABLE;
  huart1.AdvancedInit.AdvFeatureInit = UART_ADVFEATURE_NO_INIT;
  if (HAL_UART_Init(&huart1) != HAL_OK)
  {
    Error_Handler();
  }

}

static void MX_USART2_UART_Init(void)
{

  huart2.Instance = USART2;
  huart2.Init.BaudRate = 115200;
  huart2.Init.WordLength = UART_WORDLENGTH_8B;
  huart2.Init.StopBits = UART_STOPBITS_1;
  huart2.Init.Parity = UART_PARITY_NONE;
  huart2.Init.Mode = UART_MODE_TX_RX;
  huart2.Init.HwFlowCtl = UART_HWCONTROL_NONE;
  huart2.Init.OverSampling = UART_OVERSAMPLING_16;
  huart2.Init.OneBitSampling = UART_ONE_BIT_SAMPLE_DISABLE;
  huart2.AdvancedInit.AdvFeatureInit = UART_ADVFEATURE_NO_INIT;
  if (HAL_UART_Init(&huart2) != HAL_OK)
  {
    Error_Handler();
  }

}

static void MX_USART3_UART_Init(void)
{

  huart3.Instance = USART3;
  huart3.Init.BaudRate = 9600;
  huart3.Init.WordLength = UART_WORDLENGTH_8B;
  huart3.Init.StopBits = UART_STOPBITS_1;
  huart3.Init.Parity = UART_PARITY_NONE;
  huart3.Init.Mode = UART_MODE_TX_RX;
  huart3.Init.HwFlowCtl = UART_HWCONTROL_NONE;
  huart3.Init.OverSampling = UART_OVERSAMPLING_16;
  huart3.Init.OneBitSampling = UART_ONE_BIT_SAMPLE_DISABLE;
  huart3.AdvancedInit.AdvFeatureInit = UART_ADVFEATURE_NO_INIT;
  if (HAL_UART_Init(&huart3) != HAL_OK)
  {
    Error_Handler();
  }

}

static void MX_DMA_Init(void)
{

  /* DMA controller clock enable */
  __HAL_RCC_DMA1_CLK_ENABLE();

  /* DMA interrupt init */
  /* DMA1_Channel2_IRQn interrupt configuration */
  HAL_NVIC_SetPriority(DMA1_Channel2_IRQn, 0, 0);
  HAL_NVIC_EnableIRQ(DMA1_Channel2_IRQn);
  /* DMA1_Channel3_IRQn interrupt configuration */
  HAL_NVIC_SetPriority(DMA1_Channel3_IRQn, 0, 0);
  HAL_NVIC_EnableIRQ(DMA1_Channel3_IRQn);
  /* DMA1_Channel4_IRQn interrupt configuration */
  HAL_NVIC_SetPriority(DMA1_Channel4_IRQn, 0, 0);
  HAL_NVIC_EnableIRQ(DMA1_Channel4_IRQn);
  /* DMA1_Channel5_IRQn interrupt configuration */
  HAL_NVIC_SetPriority(DMA1_Channel5_IRQn, 0, 0);
  HAL_NVIC_EnableIRQ(DMA1_Channel5_IRQn);

}

static void MX_GPIO_Init(void)
{
  GPIO_InitTypeDef GPIO_InitStruct = {0};

  /* GPIO Ports Clock Enable */
  __HAL_RCC_GPIOC_CLK_ENABLE();
  __HAL_RCC_GPIOH_CLK_ENABLE();
  __HAL_RCC_GPIOA_CLK_ENABLE();
  __HAL_RCC_GPIOB_CLK_ENABLE();

  /*Configure GPIO pin Output Level */
  HAL_GPIO_WritePin(GPIOA, LD2_Pin|GPIO_PIN_8, GPIO_PIN_RESET);

  /*Configure GPIO pin : B1_Pin */
  GPIO_InitStruct.Pin = B1_Pin;
  GPIO_InitStruct.Mode = GPIO_MODE_IT_FALLING;
  GPIO_InitStruct.Pull = GPIO_NOPULL;
  HAL_GPIO_Init(B1_GPIO_Port, &GPIO_InitStruct);

  /*Configure GPIO pins : LD2_Pin PA8 */
  GPIO_InitStruct.Pin = LD2_Pin|GPIO_PIN_8;
  GPIO_InitStruct.Mode = GPIO_MODE_OUTPUT_PP;
  GPIO_InitStruct.Pull = GPIO_NOPULL;
  GPIO_InitStruct.Speed = GPIO_SPEED_FREQ_LOW;
  HAL_GPIO_Init(GPIOA, &GPIO_InitStruct);

}

void Error_Handler(void)
{
  __disable_irq();
  while (1)
  {
  }
}
